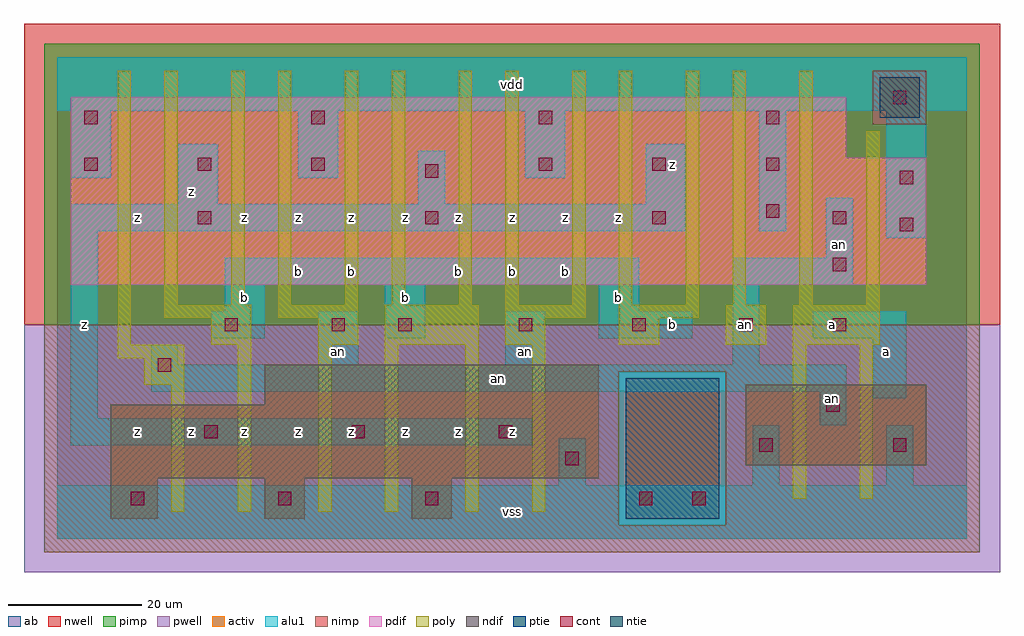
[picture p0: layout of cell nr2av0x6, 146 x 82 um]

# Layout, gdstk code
import gdstk
lib = gdstk.Library(unit=1e-6, precision=1e-09)
def R(c, l, rs):  # rectangles x0, y0, x1, y1
    for r in rs: c.add(gdstk.rectangle(r[:2], r[2:], *l))
def A(c, l, x, y, w, h, nx, ny, dx, dy):  # array of equal rectangles
    R(c, l, [(x+i*dx, y+j*dy, x+i*dx+w, y+j*dy+h) for i in range(nx) for j in range(ny)])
ndif = (3, 0)
pdif = (4, 0)
ntie = (5, 0)
ptie = (6, 0)
cont = (25, 0)
pwell = (41, 0)
nwell = (42, 0)
activ = (43, 0)
pimp = (44, 0)
nimp = (45, 0)
poly = (46, 0)
alu1 = (49, 0)
ab = (63, 0)

nr2av0x6 = lib.new_cell('nr2av0x6')
R(nr2av0x6, ndif, [(8,3,15,9), (31,3,37,9), (53,3,59,9), (8,9,81,20), (103,11,130,23), (31,20,81,26)])
R(nr2av0x6, pdif, [(2,38,130,57), (2,57,118,66)])
R(nr2av0x6, ntie, [(123,63,129,69)])
R(nr2av0x6, ptie, [(85,3,99,24)])
A(nr2av0x6, cont, 11, 5, 2, 2, 3, 1, 22, 0)
A(nr2av0x6, cont, 22, 15, 2, 2, 3, 1, 22, 0)
A(nr2av0x6, cont, 21, 47, 2, 2, 3, 1, 34, 0)
A(nr2av0x6, cont, 4, 55, 2, 2, 3, 1, 17, 0)
A(nr2av0x6, cont, 72, 55, 2, 2, 3, 1, 17, 0)
A(nr2av0x6, cont, 4, 62, 2, 2, 4, 1, 34, 0)
R(nr2av0x6, cont, [(87,5,89,7), (95,5,97,7), (76,11,78,13), (105,13,107,15), (125,13,127,15), (115,19,117,21), (15,25,17,27), (25,31,27,33), (41,31,43,33), (51,31,53,33), (69,31,71,33), (86,31,88,33), (102,31,104,33), (116,31,118,33), (116,40,118,42), (126,46,128,48), (116,47,118,49), (106,48,108,50), (126,53,128,55), (55,54,57,56), (125,65,127,67)])
R(nr2av0x6, pwell, [(-5,-5,141,32)])
R(nr2av0x6, nwell, [(-5,32,141,77)])
R(nr2av0x6, activ, [(8,3,15,9), (31,3,37,9), (53,3,59,9), (85,3,99,24), (8,9,81,20), (103,11,130,23), (31,20,81,26), (2,38,130,57), (2,57,118,66), (123,63,129,69)])
R(nr2av0x6, pimp, [(84,2,100,25), (-2,32,138,62), (-2,62,122,70), (130,62,138,70), (-2,70,138,74)])
R(nr2av0x6, nimp, [(-2,-2,138,2), (-2,2,84,25), (100,2,138,25), (-2,25,138,32), (122,62,130,70)])
R(nr2av0x6, poly, [(17,4,19,23), (27,4,29,29), (39,4,41,29), (49,4,51,29), (61,4,63,29), (71,4,73,29), (110,6,112,29), (120,6,122,29), (13,23,19,27), (9,27,19,29), (9,29,11,70), (23,29,29,33), (39,29,45,33), (49,29,63,35), (67,29,73,33), (84,29,90,33), (100,29,106,35), (110,29,123,35), (16,33,29,35), (33,33,45,35), (67,33,79,35), (84,33,96,35), (16,35,18,70), (26,35,28,70), (33,35,35,70), (43,35,45,70), (50,35,52,70), (60,35,62,70), (67,35,69,70), (77,35,79,70), (84,35,86,70), (94,35,96,70), (101,35,103,70), (111,35,113,70), (121,35,123,61)])
A(nr2av0x6, alu1, 2, 54, 6, 10, 3, 1, 34, 0)
R(nr2av0x6, alu1, [(0,0,136,8), (75,8,79,15), (104,8,108,17), (124,8,128,17), (2,14,71,18), (114,17,118,22), (2,18,6,46), (122,21,127,30), (14,22,118,26), (14,26,18,29), (39,26,45,34), (67,26,73,34), (101,26,105,38), (23,30,31,34), (49,30,55,38), (81,30,95,34), (113,30,127,34), (25,34,31,38), (81,34,87,38), (25,38,87,42), (101,38,119,42), (115,42,119,51), (124,45,130,64), (2,46,94,50), (105,46,109,64), (18,50,24,59), (54,50,58,58), (88,50,94,59), (0,64,136,72)])
R(nr2av0x6, ab, [(0,0,136,72)])
nr2av0x6.add(gdstk.Label('an', (42,28), layer=49, texttype=0))
nr2av0x6.add(gdstk.Label('an', (70,28), layer=49, texttype=0))
nr2av0x6.add(gdstk.Label('an', (116,21), layer=49, texttype=0))
nr2av0x6.add(gdstk.Label('an', (66,24), layer=49, texttype=0))
nr2av0x6.add(gdstk.Label('an', (117,44), layer=49, texttype=0))
nr2av0x6.add(gdstk.Label('an', (103,32), layer=49, texttype=0))
nr2av0x6.add(gdstk.Label('z', (12,16), layer=49, texttype=0))
nr2av0x6.add(gdstk.Label('z', (20,16), layer=49, texttype=0))
nr2av0x6.add(gdstk.Label('z', (4,32), layer=49, texttype=0))
nr2av0x6.add(gdstk.Label('z', (20,52), layer=49, texttype=0))
nr2av0x6.add(gdstk.Label('z', (12,48), layer=49, texttype=0))
nr2av0x6.add(gdstk.Label('z', (36,16), layer=49, texttype=0))
nr2av0x6.add(gdstk.Label('z', (44,16), layer=49, texttype=0))
nr2av0x6.add(gdstk.Label('z', (28,16), layer=49, texttype=0))
nr2av0x6.add(gdstk.Label('b', (28,36), layer=49, texttype=0))
nr2av0x6.add(gdstk.Label('b', (36,40), layer=49, texttype=0))
nr2av0x6.add(gdstk.Label('b', (44,40), layer=49, texttype=0))
nr2av0x6.add(gdstk.Label('z', (28,48), layer=49, texttype=0))
nr2av0x6.add(gdstk.Label('z', (36,48), layer=49, texttype=0))
nr2av0x6.add(gdstk.Label('z', (44,48), layer=49, texttype=0))
nr2av0x6.add(gdstk.Label('vss', (68,4), layer=49, texttype=0))
nr2av0x6.add(gdstk.Label('z', (60,16), layer=49, texttype=0))
nr2av0x6.add(gdstk.Label('z', (68,16), layer=49, texttype=0))
nr2av0x6.add(gdstk.Label('z', (52,16), layer=49, texttype=0))
nr2av0x6.add(gdstk.Label('b', (52,36), layer=49, texttype=0))
nr2av0x6.add(gdstk.Label('b', (60,40), layer=49, texttype=0))
nr2av0x6.add(gdstk.Label('b', (68,40), layer=49, texttype=0))
nr2av0x6.add(gdstk.Label('b', (76,40), layer=49, texttype=0))
nr2av0x6.add(gdstk.Label('z', (52,48), layer=49, texttype=0))
nr2av0x6.add(gdstk.Label('z', (60,48), layer=49, texttype=0))
nr2av0x6.add(gdstk.Label('z', (68,48), layer=49, texttype=0))
nr2av0x6.add(gdstk.Label('z', (76,48), layer=49, texttype=0))
nr2av0x6.add(gdstk.Label('vdd', (68,68), layer=49, texttype=0))
nr2av0x6.add(gdstk.Label('b', (92,32), layer=49, texttype=0))
nr2av0x6.add(gdstk.Label('b', (84,36), layer=49, texttype=0))
nr2av0x6.add(gdstk.Label('z', (84,48), layer=49, texttype=0))
nr2av0x6.add(gdstk.Label('z', (92,56), layer=49, texttype=0))
nr2av0x6.add(gdstk.Label('a', (116,32), layer=49, texttype=0))
nr2av0x6.add(gdstk.Label('a', (124,28), layer=49, texttype=0))

lib.write_gds('nr2av0x6.gds')
